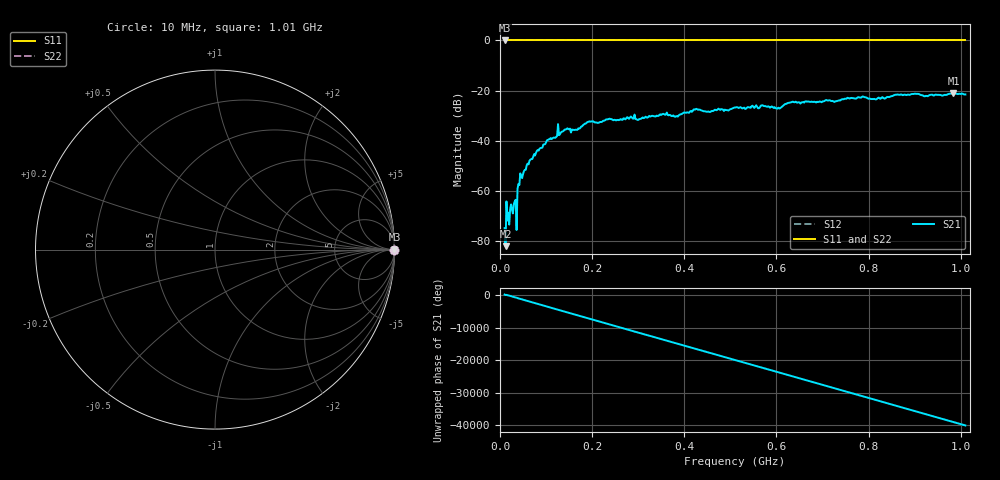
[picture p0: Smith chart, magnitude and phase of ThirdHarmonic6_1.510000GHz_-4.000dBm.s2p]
! 8/16/2025 5:46:31 PM
! C:\ANRITSUVNA\TEMP\TEMP.S2P
! CHANNEL.1
! TR.MEASUREMENT
! RAW.DATA
! RF.CORRECTION.OFF
! AVERAGING.OFF
! IF.BANDWIDTH: 5KHZ
! SWEEPTYPE:  FREQ.SWEEP(Linear)
! Reference Plane Port Info
! PORT:  PORT1  PORT2
! DISTANCE:  0  m  0  m
! TIME:  0  s  0  s
! PHASE.OFFSET:  0  deg.  0  deg.
! LOSS:  0  dB  0  dB
! REF.LOSS:  0  dB  0  dB
! REF.FREQ:  0  Hz  0  Hz
! Power Info
! POWER:  -20  dBm  -20  dBm
! EFF.POWER:  -20  dBm  -20  dBm
! SOURCE.ATTEN:  0  dB  0  dB
! TEST.ATTEN:  0  dB  0  dB
# GHZ S RI R 50.0
! FREQ.GHZ  S11RE  S11IM  S21RE  S21IM  S12RE  S12IM  S22RE  S22IM
!; PortSelection: Port_12
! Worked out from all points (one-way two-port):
!   501 points, 10 MHz to 1.01 GHz, reference 50 ohm
!   highest |S21| = -21.04 dB at 984 MHz (marker M1); lowest = -82.0 dB at 12 MHz (marker M2)
!   lowest |S11| = 0.0 dB at 10 MHz (marker M3)
!   |S11| at or under -10 dB: nowhere
!   |S22| runs from 0.0 to 0.0 dB; largest |S21 - S12| = 1.1
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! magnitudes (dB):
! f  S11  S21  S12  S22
! 10 MHz  0.0  -74.8  0.0  0.0
! 12 MHz  0.0  -82.0  0.0  0.0
! 16 MHz  0.0  -71.8  0.0  0.0
! 18 MHz  0.0  -68.7  0.0  0.0
! 28 MHz  0.0  -69.0  0.0  0.0
! 32 MHz  0.0  -64.2  0.0  0.0
! 40 MHz  0.0  -57.2  0.0  0.0
! 42 MHz  0.0  -57.6  0.0  0.0
! 48 MHz  0.0  -54.9  0.0  0.0
! 78 MHz  0.0  -44.8  0.0  0.0
! 130 MHz  0.0  -37.4  0.0  0.0
! 178 MHz  0.0  -34.3  0.0  0.0
! 194 MHz  0.0  -32.3  0.0  0.0
! 344 MHz  0.0  -30.1  0.0  0.0
! 382 MHz  0.0  -30.2  0.0  0.0
! 510 MHz  0.0  -26.7  0.0  0.0
! 604 MHz  0.0  -26.8  0.0  0.0
! 632 MHz  0.0  -24.7  0.0  0.0
! 678 MHz  0.0  -24.5  0.0  0.0
! 844 MHz  0.0  -22.6  0.0  0.0
! 984 MHz  0.0  -21.0  0.0  0.0
! 1.01 GHz  0.0  -21.5  0.0  0.0
